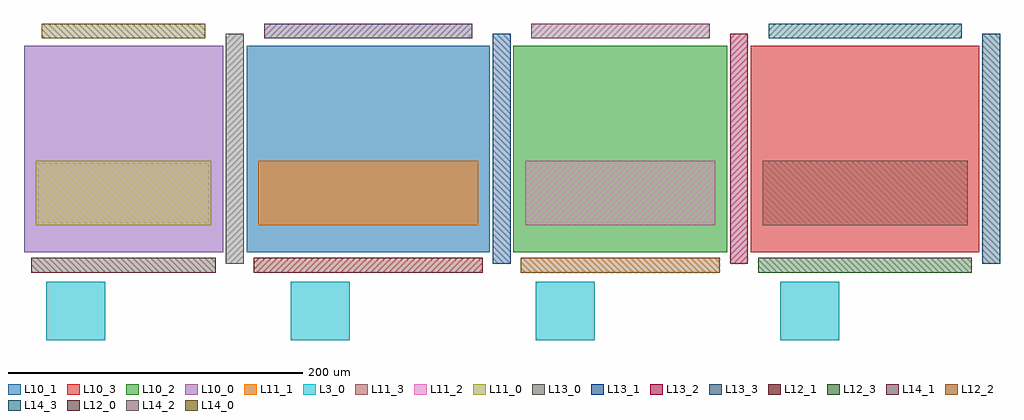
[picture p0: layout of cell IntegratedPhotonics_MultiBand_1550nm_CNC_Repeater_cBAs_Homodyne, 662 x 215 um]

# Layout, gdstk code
import gdstk
lib = gdstk.Library(unit=1e-6, precision=1e-09)
def R(c, l, rs):  # rectangles x0, y0, x1, y1
    for r in rs: c.add(gdstk.rectangle(r[:2], r[2:], *l))
def A(c, l, x, y, w, h, nx, ny, dx, dy):  # array of equal rectangles
    R(c, l, [(x+i*dx, y+j*dy, x+i*dx+w, y+j*dy+h) for i in range(nx) for j in range(ny)])
L3_0 = (3, 0)
L10_0 = (10, 0)
L10_1 = (10, 1)
L10_2 = (10, 2)
L10_3 = (10, 3)
L11_0 = (11, 0)
L11_1 = (11, 1)
L11_2 = (11, 2)
L11_3 = (11, 3)
L12_0 = (12, 0)
L12_1 = (12, 1)
L12_2 = (12, 2)
L12_3 = (12, 3)
L13_0 = (13, 0)
L13_1 = (13, 1)
L13_2 = (13, 2)
L13_3 = (13, 3)
L14_0 = (14, 0)
L14_1 = (14, 1)
L14_2 = (14, 2)
L14_3 = (14, 3)

integratedphotonics_mult = lib.new_cell('IntegratedPhotonics_MultiBand_1550nm_CNC_Repeater_cBAs_Homodyne')
A(integratedphotonics_mult, L3_0, 15, -60, 40, 40, 4, 1, 166, 0)
R(integratedphotonics_mult, L10_0, [(0,0,135,140)])
R(integratedphotonics_mult, L10_1, [(151,0,316,140)])
R(integratedphotonics_mult, L10_2, [(332,0,477,140)])
R(integratedphotonics_mult, L10_3, [(493,0,648,140)])
R(integratedphotonics_mult, L11_0, [(8,18,127,62)])
R(integratedphotonics_mult, L11_1, [(159,18,308,62)])
R(integratedphotonics_mult, L11_2, [(340,18,469,62)])
R(integratedphotonics_mult, L11_3, [(501,18,640,62)])
R(integratedphotonics_mult, L12_0, [(5,-14,130,-4)])
R(integratedphotonics_mult, L12_1, [(156,-14,311,-4)])
R(integratedphotonics_mult, L12_2, [(337,-14,472,-4)])
R(integratedphotonics_mult, L12_3, [(498,-14,643,-4)])
R(integratedphotonics_mult, L13_0, [(137,-8,149,148)])
R(integratedphotonics_mult, L13_1, [(318,-8,330,148)])
R(integratedphotonics_mult, L13_2, [(479,-8,491,148)])
R(integratedphotonics_mult, L13_3, [(650,-8,662,148)])
R(integratedphotonics_mult, L14_0, [(12,145,123,155)])
R(integratedphotonics_mult, L14_1, [(163,145,304,155)])
R(integratedphotonics_mult, L14_2, [(344,145,465,155)])
R(integratedphotonics_mult, L14_3, [(505,145,636,155)])

lib.write_gds('IntegratedPhotonics_MultiBand_1550nm_CNC_Repeater_cBAs_Homodyne.gds')
